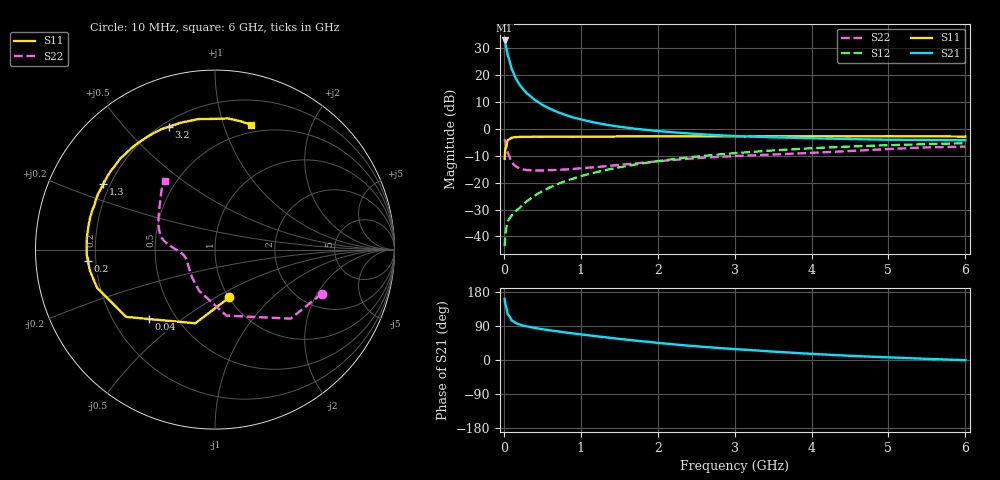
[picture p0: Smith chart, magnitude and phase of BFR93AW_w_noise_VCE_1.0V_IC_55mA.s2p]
! Infineon Technologies  Discrete & RF Semiconductors
! BFR93AW
! VCE =  1.0 V,  IC =  55 mA
! Common Emitter S-Parameters:  Jan 2017
# GHz  S  MA  R  50
!  f  S11  S21  S12  S22
! GHz  MAG  ANG  MAG  ANG  MAG  ANG  MAG  ANG
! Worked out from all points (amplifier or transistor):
!   77 points, 10 MHz to 6 GHz, reference 50 ohm
!   highest |S21| = 33.0 dB at 10 MHz (marker M1)
!   |S21| within 3 dB of that: start of sweep to 33.52 MHz
!   unconditionally stable (mu >= 1): 140.9 MHz to end of sweep
!   at 130 MHz: K = 0.95, MSG = 25.9 dB, |S12| = -31.3 dB
!   at 2.2 GHz: K = 1.20, MAG = 2.3 dB, |S12| = -11.2 dB
!   at 6 GHz: K = 1.05, MAG = -0.9 dB, |S12| = -5.3 dB
!   lowest NFmin = 2.42 dB at 450 MHz
!   S11 on the Smith chart (normalised r, x): 10 MHz: 1.01, -0.58; 40 MHz: 0.35, -0.38; 200 MHz: 0.17, -0.04; 1.3 GHz: 0.17, +0.27; 3.2 GHz: 0.23, +0.67; 6 GHz: 0.42, +1.24
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0.01  0.2785 -73.2  44.41 161.5  0.0066 65.5  0.6432 -22.5
0.02  0.425 -105.0  39.14 146.4  0.0113 59.8  0.5705 -42.4
0.04  0.5332 -133.5  28.15 131.9  0.0164 48.7  0.4154 -64.0
0.05  0.6214 -142.9  23.78 120.1  0.0191 45.4  0.3728 -80.3
0.1  0.6908 -162.1  13.22 104.6  0.0243 46.6  0.2462 -110.9
0.15  0.7062 -170.2  9.033 98.0  0.0291 51.9  0.204 -127.8
0.2  0.7119 -174.8  6.83 93.9  0.0334 57.0  0.186 -138.3
0.25  0.7154 -178.3  5.498 90.8  0.0397 59.6  0.1767 -145.3
0.3  0.7148 179.1  4.597 88.6  0.0453 62.7  0.1723 -150.8
0.4  0.717 175.0  3.491 84.6  0.0572 65.3  0.169 -157.5
0.5  0.7165 171.2  2.816 81.3  0.0698 67.4  0.1688 -162.0
0.6  0.7173 168.0  2.379 78.3  0.0821 68.0  0.1715 -165.3
0.8  0.7181 162.4  1.829 72.7  0.1075 68.5  0.1766 -169.8
1.1  0.7216 154.5  1.398 65.2  0.1446 66.4  0.1907 -174.4
1.3  0.7221 149.4  1.222 60.5  0.1689 64.9  0.2014 -177.1
1.7  0.7266 140.2  1.014 51.4  0.217 60.5  0.2281 178.2
2.1  0.7309 131.4  0.891 43.4  0.2631 55.7  0.2575 174.2
3.1  0.7325 112.3  0.732 27.5  0.3635 43.2  0.3177 164.2
3.2  0.7314 110.5  0.724 26.2  0.3722 41.9  0.3219 162.8
4.1  0.7313 95.9  0.668 15.2  0.4453 31.0  0.3653 149.3
5.1  0.7327 83.3  0.63 6.2  0.5044 19.4  0.43 134.4
6  0.7238 74.0  0.619 -0.6  0.5428 10.0  0.4701 126.1
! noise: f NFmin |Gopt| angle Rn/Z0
0.45  2.42  0.28  -177  0.18
0.9  2.73  0.33  -166  0.19
1.9  3.88  0.54  -131  0.46
2.4  4.64  0.58  -122  0.86
